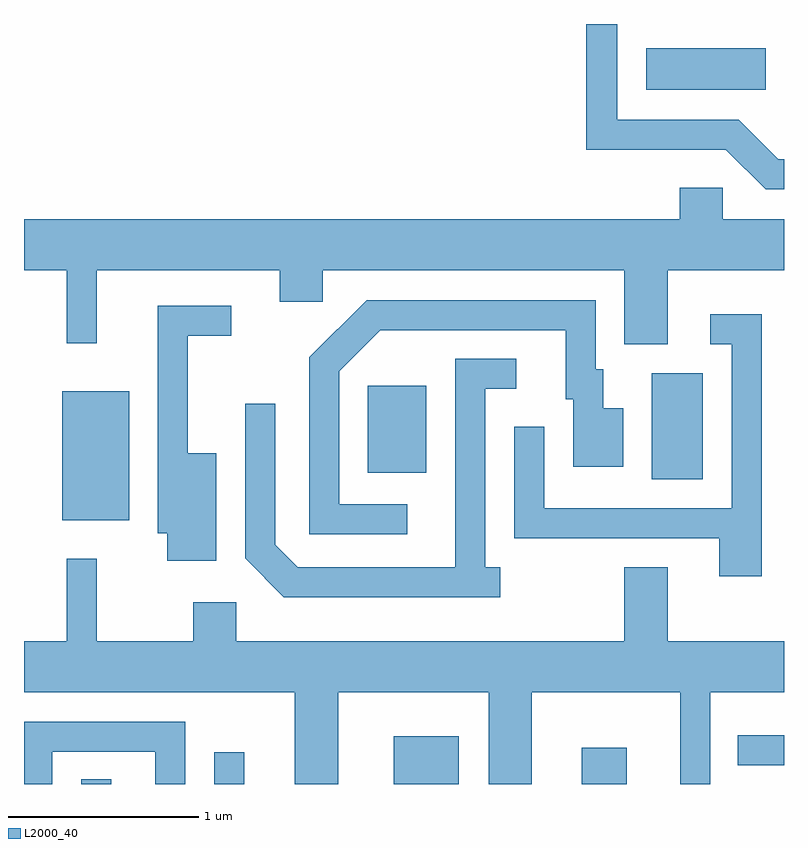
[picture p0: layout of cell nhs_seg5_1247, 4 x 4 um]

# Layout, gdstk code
import gdstk
lib = gdstk.Library(unit=1e-6, precision=1e-09)
def R(c, l, rs):  # rectangles x0, y0, x1, y1
    for r in rs: c.add(gdstk.rectangle(r[:2], r[2:], *l))
def P(c, l, *ps):  # polygons
    for p in ps: c.add(gdstk.Polygon(p, *l))
L2000_40 = (2000, 40)

nhs_seg5_1247 = lib.new_cell('nhs_seg5_1247')
R(nhs_seg5_1247, L2000_40, [(221.911,1474.072,222.069,1474.098), (222.611,1474.072,222.769,1474.238), (223.556,1474.072,223.899,1474.324), (224.546,1474.072,224.784,1474.264), (225.368,1474.171,225.611,1474.329), (221.811,1475.461,222.164,1476.139), (224.916,1475.676,225.184,1476.234), (223.421,1475.711,223.729,1476.169), (224.886,1477.726,225.514,1477.944)])
P(nhs_seg5_1247, L2000_40, [(225.611,1477.359),(225.582,1477.359),(225.372,1477.569),(224.734,1477.569),(224.734,1478.072),(224.571,1478.072),(224.571,1477.411),(225.304,1477.411),(225.514,1477.201),(225.611,1477.201)],
  [(224.999,1476.776),(225.611,1476.776),(225.611,1477.044),(225.289,1477.044),(225.289,1477.209),(225.061,1477.209),(225.061,1477.044),(221.611,1477.044),(221.611,1476.776),(221.836,1476.776),(221.836,1476.393),(221.994,1476.393),(221.994,1476.776),(222.956,1476.776),(222.956,1476.611),(223.184,1476.611),(223.184,1476.776),(224.771,1476.776),(224.771,1476.386),(224.999,1476.386)],
  [(223.628,1475.544),(223.269,1475.544),(223.269,1476.244),(223.487,1476.461),(224.461,1476.461),(224.461,1476.096),(224.501,1476.096),(224.501,1475.741),(224.764,1475.741),(224.764,1476.049),(224.659,1476.049),(224.659,1476.254),(224.619,1476.254),(224.619,1476.619),(223.414,1476.619),(223.111,1476.317),(223.111,1475.386),(223.628,1475.386)],
  [(222.624,1475.814),(222.474,1475.814),(222.474,1476.431),(222.703,1476.431),(222.703,1476.589),(222.316,1476.589),(222.316,1475.391),(222.366,1475.391),(222.366,1475.246),(222.624,1475.246)],
  [(225.494,1476.544),(225.223,1476.544),(225.223,1476.386),(225.336,1476.386),(225.336,1475.524),(224.349,1475.524),(224.349,1475.953),(224.191,1475.953),(224.191,1475.366),(225.271,1475.366),(225.271,1475.166),(225.494,1475.166)],
  [(224.118,1475.214),(224.039,1475.214),(224.039,1476.151),(224.203,1476.151),(224.203,1476.309),(223.881,1476.309),(223.881,1475.214),(223.052,1475.214),(222.934,1475.332),(222.934,1476.073),(222.776,1476.073),(222.776,1475.259),(222.979,1475.056),(224.118,1475.056)],
  [(223.264,1474.556),(224.056,1474.556),(224.056,1474.072),(224.284,1474.072),(224.284,1474.556),(225.066,1474.556),(225.066,1474.072),(225.224,1474.072),(225.224,1474.556),(225.611,1474.556),(225.611,1474.824),(224.999,1474.824),(224.999,1475.214),(224.771,1475.214),(224.771,1474.824),(222.729,1474.824),(222.729,1475.029),(222.501,1475.029),(222.501,1474.824),(221.994,1474.824),(221.994,1475.258),(221.836,1475.258),(221.836,1474.824),(221.611,1474.824),(221.611,1474.556),(223.036,1474.556),(223.036,1474.072),(223.264,1474.072)],
  [(221.759,1474.241),(222.301,1474.241),(222.301,1474.072),(222.459,1474.072),(222.459,1474.399),(221.611,1474.399),(221.611,1474.072),(221.759,1474.072)])

lib.write_gds('nhs_seg5_1247.gds')
